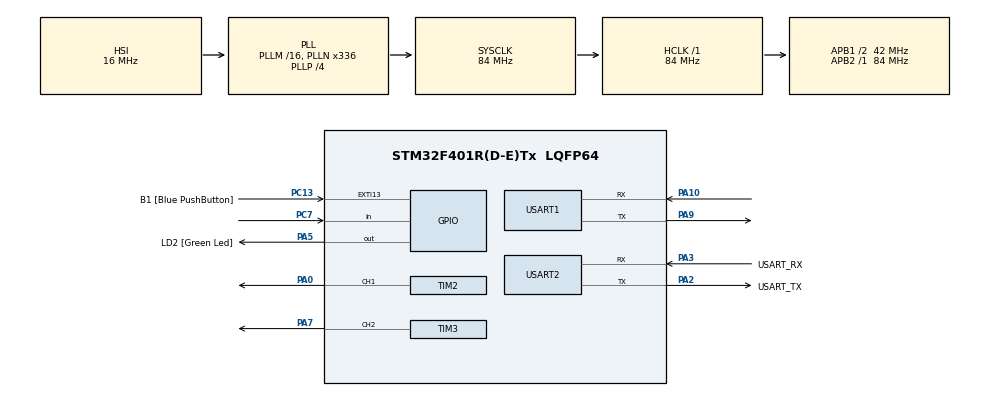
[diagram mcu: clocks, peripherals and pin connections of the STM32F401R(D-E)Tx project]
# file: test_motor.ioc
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Mcu.Family=STM32F4
Mcu.Name=STM32F401R(D-E)Tx
Mcu.Package=LQFP64
NVIC.PriorityGroup=NVIC_PRIORITYGROUP_0
NVIC.TIM3_IRQn=true\:0\:0\:false\:false\:true\:true\:true
PA0-WKUP.Signal=S_TIM2_CH1_ETR
PA10.Mode=Asynchronous
PA10.Signal=USART1_RX
PA13.GPIO_Label=TMS
PA13.Mode=Serial_Wire
PA13.Signal=SYS_JTMS-SWDIO
PA14.GPIO_Label=TCK
PA14.Mode=Serial_Wire
PA14.Signal=SYS_JTCK-SWCLK
PA2.GPIO_Label=USART_TX
PA2.GPIO_Mode=GPIO_MODE_AF_PP
PA2.GPIO_PuPd=GPIO_NOPULL
PA2.GPIO_Speed=GPIO_SPEED_FREQ_LOW
PA2.Mode=Asynchronous
PA2.Signal=USART2_TX
PA3.GPIO_Label=USART_RX
PA3.GPIO_Mode=GPIO_MODE_AF_PP
PA3.GPIO_PuPd=GPIO_NOPULL
PA3.GPIO_Speed=GPIO_SPEED_FREQ_LOW
PA3.Mode=Asynchronous
PA3.Signal=USART2_RX
PA5.GPIO_Label=LD2 [Green Led]
PA5.GPIO_Mode=GPIO_MODE_OUTPUT_PP
PA5.GPIO_PuPd=GPIO_NOPULL
PA5.GPIO_Speed=GPIO_SPEED_FREQ_LOW
PA5.Signal=GPIO_Output
PA7.Signal=S_TIM3_CH2
PA9.Mode=Asynchronous
PA9.Signal=USART1_TX
PB3.GPIO_Label=SWO
PB3.Signal=SYS_JTDO-SWO
PC13-ANTI_TAMP.GPIO_Label=B1 [Blue PushButton]
PC13-ANTI_TAMP.GPIO_ModeDefaultEXTI=GPIO_MODE_IT_FALLING
PC13-ANTI_TAMP.GPIO_PuPd=GPIO_NOPULL
PC13-ANTI_TAMP.Signal=GPXTI13
PC14-OSC32_IN.Mode=LSE-External-Oscillator
PC14-OSC32_IN.Signal=RCC_OSC32_IN
PC15-OSC32_OUT.Mode=LSE-External-Oscillator
PC15-OSC32_OUT.Signal=RCC_OSC32_OUT
PC7.Signal=GPIO_Input
PH0\ -\ OSC_IN.Mode=HSE-External-Oscillator
PH0\ -\ OSC_IN.Signal=RCC_OSC_IN
PH1\ -\ OSC_OUT.Mode=HSE-External-Oscillator
PH1\ -\ OSC_OUT.Signal=RCC_OSC_OUT
ProjectManager.HeapSize=0x200
ProjectManager.StackSize=0x400
ProjectManager.TargetToolchain=STM32CubeIDE
RCC.48MHZClocksFreq_Value=48000000
RCC.AHBFreq_Value=84000000
RCC.APB1CLKDivider=RCC_HCLK_DIV2
RCC.APB1Freq_Value=42000000
RCC.APB1TimFreq_Value=84000000
RCC.APB2Freq_Value=84000000
RCC.APB2TimFreq_Value=84000000
RCC.CortexFreq_Value=84000000
RCC.HCLKFreq_Value=84000000
RCC.HSE_VALUE=8000000
RCC.HSI_VALUE=16000000
RCC.PLLN=336
RCC.PLLP=RCC_PLLP_DIV4
RCC.PLLQ=7
RCC.SYSCLKFreq_VALUE=84000000
RCC.SYSCLKSource=RCC_SYSCLKSOURCE_PLLCLK
RCC.VCOOutputFreq_Value=336000000
SH.S_TIM2_CH1_ETR.0=TIM2_CH1,PWM Generation1 CH1
SH.S_TIM3_CH2.0=TIM3_CH2,PWM Generation2 CH2
TIM2.Channel-PWM\ Generation1\ CH1=TIM_CHANNEL_1
TIM3.AutoReloadPreload=TIM_AUTORELOAD_PRELOAD_ENABLE
TIM3.Channel-PWM\ Generation2\ CH2=TIM_CHANNEL_2
TIM3.Period=8400
USART1.VirtualMode=VM_ASYNC
USART2.VirtualMode=VM_ASYNC
VP_TIM2_VS_ClockSourceINT.Mode=Internal
VP_TIM3_VS_ClockSourceINT.Mode=Internal
board=NUCLEO-F401RE

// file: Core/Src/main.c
/* USER CODE BEGIN Header */
/**
  ******************************************************************************
  * @file           : main.c
  * @brief          : Main program body
  ******************************************************************************
  * @attention
  *
  * <h2><center>&copy; Copyright (c) 2021 STMicroelectronics.
  * All rights reserved.</center></h2>
  *
  * This software component is licensed by ST under BSD 3-Clause license,
  * the "License"; You may not use this file except in compliance with the
  * License. You may obtain a copy of the License at:
  *                        opensource.org/licenses/BSD-3-Clause
  *
  ******************************************************************************
  */
/* USER CODE END Header */
#include "main.h"

TIM_HandleTypeDef htim2;
TIM_HandleTypeDef htim3;

UART_HandleTypeDef huart1;
UART_HandleTypeDef huart2;

void SystemClock_Config(void);
static void MX_GPIO_Init(void);
static void MX_USART2_UART_Init(void);
static void MX_TIM2_Init(void);
static void MX_TIM3_Init(void);
static void MX_USART1_UART_Init(void);
/* USER CODE BEGIN PFP */
const int UPPER_BOUND = 8399;
const int LOWER_BOUND = 3000;
const int MULTIPLIER = 560;
/* USER CODE END PFP */

/* USER CODE BEGIN 0 */
int max(int x, int y) {
	return x > y ? x : y;
}

int min(int x, int y) {
	return x < y ? x : y;
}
/* USER CODE END 0 */

int main(void)
{

  /* MCU Configuration--------------------------------------------------------*/

  /* Reset of all peripherals, Initializes the Flash interface and the Systick. */
  HAL_Init();

  /* Configure the system clock */
  SystemClock_Config();

  /* Initialize all configured peripherals */
  MX_GPIO_Init();
  MX_USART2_UART_Init();
  MX_TIM2_Init();
  MX_TIM3_Init();
  MX_USART1_UART_Init();
  /* USER CODE BEGIN 2 */
  HAL_TIM_PWM_Start(&htim3, TIM_CHANNEL_2);
  /* USER CODE END 2 */

  /* Infinite loop */
  /* USER CODE BEGIN WHILE */
  char c;
  int pt = 0;
  int data[3] = {};
  TIM3 -> CCR2 = 0;
  while (1)
  {
	  if (HAL_UART_Receive(&huart1, &c, 1, 100) == HAL_OK) {
		  HAL_UART_Transmit(&huart2, &c, 1, 100);
		  if (c == '\n') {
			  HAL_UART_Transmit(&huart2, "\r", 1, 100);
			  pt = 0;
			  if (data[0] == 1) {
				  // turn on fan
				  int normal = UPPER_BOUND + LOWER_BOUND >> 1;
				  int actual = max(LOWER_BOUND, min(UPPER_BOUND, normal + MULTIPLIER * (data[1]  - data[2])));
				  TIM3 -> CCR2 = actual;
			  } else {
				  // turn off fan
				  TIM3 -> CCR2 = 0;
			  }
			  memset(data, 0, sizeof(data));
		  } else if (c == ' ') {
			  pt ++;
		  } else {
			  data[pt] *= 10;
			  data[pt] += c - '0';
		  }
	  }

    /* USER CODE END WHILE */

  }
}

void SystemClock_Config(void)
{
  RCC_OscInitTypeDef RCC_OscInitStruct = {0};
  RCC_ClkInitTypeDef RCC_ClkInitStruct = {0};

  /** Configure the main internal regulator output voltage
  */
  __HAL_RCC_PWR_CLK_ENABLE();
  __HAL_PWR_VOLTAGESCALING_CONFIG(PWR_REGULATOR_VOLTAGE_SCALE2);
  /** Initializes the RCC Oscillators according to the specified parameters
  * in the RCC_OscInitTypeDef structure.
  */
  RCC_OscInitStruct.OscillatorType = RCC_OSCILLATORTYPE_HSI;
  RCC_OscInitStruct.HSIState = RCC_HSI_ON;
  RCC_OscInitStruct.HSICalibrationValue = RCC_HSICALIBRATION_DEFAULT;
  RCC_OscInitStruct.PLL.PLLState = RCC_PLL_ON;
  RCC_OscInitStruct.PLL.PLLSource = RCC_PLLSOURCE_HSI;
  RCC_OscInitStruct.PLL.PLLM = 16;
  RCC_OscInitStruct.PLL.PLLN = 336;
  RCC_OscInitStruct.PLL.PLLP = RCC_PLLP_DIV4;
  RCC_OscInitStruct.PLL.PLLQ = 7;
  if (HAL_RCC_OscConfig(&RCC_OscInitStruct) != HAL_OK)
  {
    Error_Handler();
  }
  /** Initializes the CPU, AHB and APB buses clocks
  */
  RCC_ClkInitStruct.ClockType = RCC_CLOCKTYPE_HCLK|RCC_CLOCKTYPE_SYSCLK
                              |RCC_CLOCKTYPE_PCLK1|RCC_CLOCKTYPE_PCLK2;
  RCC_ClkInitStruct.SYSCLKSource = RCC_SYSCLKSOURCE_PLLCLK;
  RCC_ClkInitStruct.AHBCLKDivider = RCC_SYSCLK_DIV1;
  RCC_ClkInitStruct.APB1CLKDivider = RCC_HCLK_DIV2;
  RCC_ClkInitStruct.APB2CLKDivider = RCC_HCLK_DIV1;

  if (HAL_RCC_ClockConfig(&RCC_ClkInitStruct, FLASH_LATENCY_2) != HAL_OK)
  {
    Error_Handler();
  }
}

static void MX_TIM2_Init(void)
{

  TIM_ClockConfigTypeDef sClockSourceConfig = {0};
  TIM_MasterConfigTypeDef sMasterConfig = {0};
  TIM_OC_InitTypeDef sConfigOC = {0};

  htim2.Instance = TIM2;
  htim2.Init.Prescaler = 0;
  htim2.Init.CounterMode = TIM_COUNTERMODE_UP;
  htim2.Init.Period = 4294967295;
  htim2.Init.ClockDivision = TIM_CLOCKDIVISION_DIV1;
  htim2.Init.AutoReloadPreload = TIM_AUTORELOAD_PRELOAD_DISABLE;
  if (HAL_TIM_Base_Init(&htim2) != HAL_OK)
  {
    Error_Handler();
  }
  sClockSourceConfig.ClockSource = TIM_CLOCKSOURCE_INTERNAL;
  if (HAL_TIM_ConfigClockSource(&htim2, &sClockSourceConfig) != HAL_OK)
  {
    Error_Handler();
  }
  if (HAL_TIM_PWM_Init(&htim2) != HAL_OK)
  {
    Error_Handler();
  }
  sMasterConfig.MasterOutputTrigger = TIM_TRGO_RESET;
  sMasterConfig.MasterSlaveMode = TIM_MASTERSLAVEMODE_DISABLE;
  if (HAL_TIMEx_MasterConfigSynchronization(&htim2, &sMasterConfig) != HAL_OK)
  {
    Error_Handler();
  }
  sConfigOC.OCMode = TIM_OCMODE_PWM1;
  sConfigOC.Pulse = 0;
  sConfigOC.OCPolarity = TIM_OCPOLARITY_HIGH;
  sConfigOC.OCFastMode = TIM_OCFAST_DISABLE;
  if (HAL_TIM_PWM_ConfigChannel(&htim2, &sConfigOC, TIM_CHANNEL_1) != HAL_OK)
  {
    Error_Handler();
  }
  HAL_TIM_MspPostInit(&htim2);

}

static void MX_TIM3_Init(void)
{

  TIM_ClockConfigTypeDef sClockSourceConfig = {0};
  TIM_MasterConfigTypeDef sMasterConfig = {0};
  TIM_OC_InitTypeDef sConfigOC = {0};

  htim3.Instance = TIM3;
  htim3.Init.Prescaler = 0;
  htim3.Init.CounterMode = TIM_COUNTERMODE_UP;
  htim3.Init.Period = 8400;
  htim3.Init.ClockDivision = TIM_CLOCKDIVISION_DIV1;
  htim3.Init.AutoReloadPreload = TIM_AUTORELOAD_PRELOAD_ENABLE;
  if (HAL_TIM_Base_Init(&htim3) != HAL_OK)
  {
    Error_Handler();
  }
  sClockSourceConfig.ClockSource = TIM_CLOCKSOURCE_INTERNAL;
  if (HAL_TIM_ConfigClockSource(&htim3, &sClockSourceConfig) != HAL_OK)
  {
    Error_Handler();
  }
  if (HAL_TIM_PWM_Init(&htim3) != HAL_OK)
  {
    Error_Handler();
  }
  sMasterConfig.MasterOutputTrigger = TIM_TRGO_RESET;
  sMasterConfig.MasterSlaveMode = TIM_MASTERSLAVEMODE_DISABLE;
  if (HAL_TIMEx_MasterConfigSynchronization(&htim3, &sMasterConfig) != HAL_OK)
  {
    Error_Handler();
  }
  sConfigOC.OCMode = TIM_OCMODE_PWM1;
  sConfigOC.Pulse = 0;
  sConfigOC.OCPolarity = TIM_OCPOLARITY_HIGH;
  sConfigOC.OCFastMode = TIM_OCFAST_DISABLE;
  if (HAL_TIM_PWM_ConfigChannel(&htim3, &sConfigOC, TIM_CHANNEL_2) != HAL_OK)
  {
    Error_Handler();
  }
  HAL_TIM_MspPostInit(&htim3);

}

static void MX_USART1_UART_Init(void)
{

  huart1.Instance = USART1;
  huart1.Init.BaudRate = 115200;
  huart1.Init.WordLength = UART_WORDLENGTH_8B;
  huart1.Init.StopBits = UART_STOPBITS_1;
  huart1.Init.Parity = UART_PARITY_NONE;
  huart1.Init.Mode = UART_MODE_TX_RX;
  huart1.Init.HwFlowCtl = UART_HWCONTROL_NONE;
  huart1.Init.OverSampling = UART_OVERSAMPLING_16;
  if (HAL_UART_Init(&huart1) != HAL_OK)
  {
    Error_Handler();
  }

}

static void MX_USART2_UART_Init(void)
{

  huart2.Instance = USART2;
  huart2.Init.BaudRate = 115200;
  huart2.Init.WordLength = UART_WORDLENGTH_8B;
  huart2.Init.StopBits = UART_STOPBITS_1;
  huart2.Init.Parity = UART_PARITY_NONE;
  huart2.Init.Mode = UART_MODE_TX_RX;
  huart2.Init.HwFlowCtl = UART_HWCONTROL_NONE;
  huart2.Init.OverSampling = UART_OVERSAMPLING_16;
  if (HAL_UART_Init(&huart2) != HAL_OK)
  {
    Error_Handler();
  }

}

static void MX_GPIO_Init(void)
{
  GPIO_InitTypeDef GPIO_InitStruct = {0};

  /* GPIO Ports Clock Enable */
  __HAL_RCC_GPIOC_CLK_ENABLE();
  __HAL_RCC_GPIOH_CLK_ENABLE();
  __HAL_RCC_GPIOA_CLK_ENABLE();
  __HAL_RCC_GPIOB_CLK_ENABLE();

  /*Configure GPIO pin Output Level */
  HAL_GPIO_WritePin(LD2_GPIO_Port, LD2_Pin, GPIO_PIN_RESET);

  /*Configure GPIO pin : B1_Pin */
  GPIO_InitStruct.Pin = B1_Pin;
  GPIO_InitStruct.Mode = GPIO_MODE_IT_FALLING;
  GPIO_InitStruct.Pull = GPIO_NOPULL;
  HAL_GPIO_Init(B1_GPIO_Port, &GPIO_InitStruct);

  /*Configure GPIO pin : LD2_Pin */
  GPIO_InitStruct.Pin = LD2_Pin;
  GPIO_InitStruct.Mode = GPIO_MODE_OUTPUT_PP;
  GPIO_InitStruct.Pull = GPIO_NOPULL;
  GPIO_InitStruct.Speed = GPIO_SPEED_FREQ_LOW;
  HAL_GPIO_Init(LD2_GPIO_Port, &GPIO_InitStruct);

  /*Configure GPIO pin : PC7 */
  GPIO_InitStruct.Pin = GPIO_PIN_7;
  GPIO_InitStruct.Mode = GPIO_MODE_INPUT;
  GPIO_InitStruct.Pull = GPIO_NOPULL;
  HAL_GPIO_Init(GPIOC, &GPIO_InitStruct);

}

void Error_Handler(void)
{
  __disable_irq();
  while (1)
  {
  }
}

/************************ (C) COPYRIGHT STMicroelectronics *****END OF FILE****/
